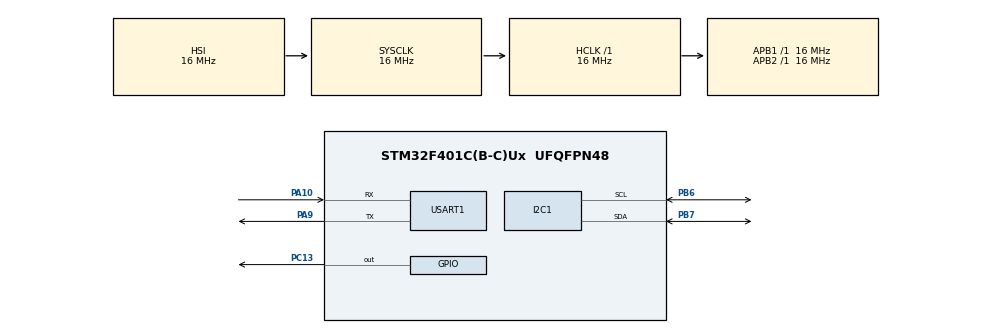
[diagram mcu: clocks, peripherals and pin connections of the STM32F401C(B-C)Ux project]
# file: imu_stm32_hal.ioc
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Mcu.Family=STM32F4
Mcu.Name=STM32F401C(B-C)Ux
Mcu.Package=UFQFPN48
NVIC.PriorityGroup=NVIC_PRIORITYGROUP_4
PA10.Mode=Asynchronous
PA10.Signal=USART1_RX
PA13.Mode=Serial_Wire
PA13.Signal=SYS_JTMS-SWDIO
PA14.Mode=Serial_Wire
PA14.Signal=SYS_JTCK-SWCLK
PA9.Mode=Asynchronous
PA9.Signal=USART1_TX
PB6.Mode=I2C
PB6.Signal=I2C1_SCL
PB7.Mode=I2C
PB7.Signal=I2C1_SDA
PC13-ANTI_TAMP.Signal=GPIO_Output
ProjectManager.HeapSize=0x200
ProjectManager.StackSize=0x400
ProjectManager.TargetToolchain=CMake
RCC.AHBFreq_Value=16000000
RCC.APB1Freq_Value=16000000
RCC.APB2Freq_Value=16000000
RCC.CortexFreq_Value=16000000
RCC.HSE_VALUE=25000000
RCC.HSI_VALUE=16000000
RCC.LSE_VALUE=32768
RCC.SYSCLKFreq_VALUE=16000000
RCC.VCOOutputFreq_Value=192000000
USART1.VirtualMode=VM_ASYNC
board=custom

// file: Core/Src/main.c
/* USER CODE BEGIN Header */
/**
  ******************************************************************************
  * @file           : main.c
  * @brief          : Main program body
  ******************************************************************************
  * @attention
  *
  * Copyright (c) 2026 STMicroelectronics.
  * All rights reserved.
  *
  * This software is licensed under terms that can be found in the LICENSE file
  * in the root directory of this software component.
  * If no LICENSE file comes with this software, it is provided AS-IS.
  *
  ******************************************************************************
  */
/* USER CODE END Header */
#include "main.h"

/* USER CODE BEGIN Includes */
#include<stdio.h>
#include <math.h>
/* USER CODE END Includes */

I2C_HandleTypeDef hi2c1;

UART_HandleTypeDef huart1;

void SystemClock_Config(void);
static void MX_GPIO_Init(void);
static void MX_I2C1_Init(void);
static void MX_USART1_UART_Init(void);

int main(void)
{

  /* MCU Configuration--------------------------------------------------------*/

  /* Reset of all peripherals, Initializes the Flash interface and the Systick. */
  HAL_Init();

  /* Configure the system clock */
  SystemClock_Config();

  /* Initialize all configured peripherals */
  MX_GPIO_Init();
  MX_I2C1_Init();
  MX_USART1_UART_Init();
  /* USER CODE BEGIN 2 */
  uint8_t id=0;
  HAL_StatusTypeDef status;
  status = HAL_I2C_Mem_Read(&hi2c1,0x6A<<1,0x0F,I2C_MEMADD_SIZE_8BIT,&id,1,100);
  uint8_t accel_config=0x40;
  HAL_StatusTypeDef accel_write_status;
  accel_write_status = HAL_I2C_Mem_Write(&hi2c1,0x6A<<1,0x10,I2C_MEMADD_SIZE_8BIT,&accel_config,1,100);
  uint8_t gyro_config=0x40;
HAL_StatusTypeDef gyro_write_status;
gyro_write_status = HAL_I2C_Mem_Write(&hi2c1,0x6A<<1,0x11,I2C_MEMADD_SIZE_8BIT,&gyro_config,1,100);

uint8_t msg[] = "STM32 UART OK\r\n";
HAL_UART_Transmit(&huart1, msg, sizeof(msg) - 1, 100);// Send a test message over UART to verify it is working
  /* USER CODE END 2 */

  /* Infinite loop */
  /* USER CODE BEGIN WHILE */
   uint8_t accel_data[6]={0};
  int16_t ax_raw=0;
  float ax=0.0f;
  int16_t ay_raw=0;
  float ay=0.0f;
  int16_t az_raw=0;
  float az=0.0f;
  HAL_StatusTypeDef accel_status;

  uint8_t gyro_data[6]={0};
  int16_t gx_raw=0;
  float gx=0.0f;
  int16_t gy_raw=0;
  float gy=0.0f;
  int16_t gz_raw=0;
  float gz=0.0f;
  HAL_StatusTypeDef gyro_status;

  float roll_acc = 0.0f;
float pitch_acc = 0.0f;

float roll_gyro = 0.0f;
float pitch_gyro = 0.0f;

float roll_fused = 0.0f;
float pitch_fused = 0.0f;
//设置零点，设备可能一开始工作地方就有角度
float roll_sum = 0.0f;
float pitch_sum = 0.0f;       // 累加采集到的角度

float roll_zero = 0.0f;
float pitch_zero = 0.0f;      // 最后算出的零点

uint16_t calibration_count = 0; // 已经收集了多少次
int calibration_done = 0;      // 0：未完成，1：已完成

uint32_t calibration_start = HAL_GetTick();
uint32_t previous_time = HAL_GetTick();
  while (1)
{
    /* USER CODE END WHILE */

    /* USER CODE BEGIN 3 */
    static uint32_t last_send = 0;
    static uint32_t tilt_start = 0;
    static int tilt_timing = 0;
    static int alarm = 0;

    accel_status = HAL_I2C_Mem_Read(
        &hi2c1, 0x6A << 1, 0x28,
        I2C_MEMADD_SIZE_8BIT, accel_data, 6, 100);

    gyro_status = HAL_I2C_Mem_Read(
        &hi2c1, 0x6A << 1, 0x22,
        I2C_MEMADD_SIZE_8BIT, gyro_data, 6, 100);

    uint32_t current_time = HAL_GetTick();
    float dt = (current_time - previous_time) / 1000.0f;
    previous_time = current_time;

    // 读取失败：中断本次超限计时，不用旧数据继续判断
    if (accel_status != HAL_OK || gyro_status != HAL_OK)
    {
        tilt_timing = 0;
        alarm = 0;
        HAL_GPIO_WritePin(GPIOC, GPIO_PIN_13, GPIO_PIN_SET);
        HAL_Delay(10);
        continue;
    }

    // 加速度，单位 g
    ax_raw = (int16_t)((accel_data[1] << 8) | accel_data[0]);
    ay_raw = (int16_t)((accel_data[3] << 8) | accel_data[2]);
    az_raw = (int16_t)((accel_data[5] << 8) | accel_data[4]);

    ax = ax_raw * 0.000061f;
    ay = ay_raw * 0.000061f;
    az = az_raw * 0.000061f;

    roll_acc = atan2f(ay, az) * 180.0f / 3.1415926f;
    pitch_acc = atan2f(-ax, sqrtf(ay * ay + az * az))
                * 180.0f / 3.1415926f;

    // 角速度，单位 °/s
    gx_raw = (int16_t)((gyro_data[1] << 8) | gyro_data[0]);
    gy_raw = (int16_t)((gyro_data[3] << 8) | gyro_data[2]);
    gz_raw = (int16_t)((gyro_data[5] << 8) | gyro_data[4]);

    gx = gx_raw * 0.00875f;
    gy = gy_raw * 0.00875f;
    gz = gz_raw * 0.00875f;

    roll_gyro += gx * dt;
    pitch_gyro += gy * dt;

    roll_fused = 0.98f * (roll_fused + gx * dt)
                 + 0.02f * roll_acc;
    pitch_fused = 0.98f * (pitch_fused + gy * dt)
                  + 0.02f * pitch_acc;

if (!calibration_done)
{
    // 前 3 秒继续更新滤波，但不收集零点数据
    if (current_time - calibration_start >= 3000)
    {
        roll_sum += roll_fused;
        pitch_sum += pitch_fused;
        calibration_count++;

        if (calibration_count >= 100)
        {
            roll_zero = roll_sum / calibration_count;
            pitch_zero = pitch_sum / calibration_count;

            calibration_done = 1;
        }
    }

    // 标定期间不进入后面的报警和数据发送
    HAL_Delay(10);
    continue;
}
float roll_corrected = roll_fused - roll_zero;
float pitch_corrected = pitch_fused - pitch_zero;

    // 连续超限 2 秒才报警
    int tilt_over = (roll_corrected > 20.0f ||
                     roll_corrected < -20.0f ||
                     pitch_corrected > 20.0f ||
                     pitch_corrected < -20.0f);

    if (tilt_over)
    {
        if (!tilt_timing)
        {
            tilt_start = current_time;
            tilt_timing = 1;
        }

        if (current_time - tilt_start >= 2000)
        {
            alarm = 1;
        }
    }
    else
    {
        tilt_timing = 0;
        alarm = 0;
    }

    // 每 100ms 发送：时间、Roll、Pitch、报警状态
    if (current_time - last_send >= 100)
    {
        last_send = current_time;

        char msg[64];
        int len = snprintf(msg, sizeof(msg),
                           "%lu,%d,%d,%d\r\n",
                           (unsigned long)current_time,
                           (int)roll_corrected,
                           (int)pitch_corrected,
                           alarm);

        if (len > 0 && len < (int)sizeof(msg))
        {
            HAL_UART_Transmit(
                &huart1, (uint8_t *)msg, (uint16_t)len, 100);
        }
    }

    HAL_Delay(10);
}
/* USER CODE END 3 */
}
void SystemClock_Config(void)
{
  RCC_OscInitTypeDef RCC_OscInitStruct = {0};
  RCC_ClkInitTypeDef RCC_ClkInitStruct = {0};

  /** Configure the main internal regulator output voltage
  */
  __HAL_RCC_PWR_CLK_ENABLE();
  __HAL_PWR_VOLTAGESCALING_CONFIG(PWR_REGULATOR_VOLTAGE_SCALE2);

  /** Initializes the RCC Oscillators according to the specified parameters
  * in the RCC_OscInitTypeDef structure.
  */
  RCC_OscInitStruct.OscillatorType = RCC_OSCILLATORTYPE_HSI;
  RCC_OscInitStruct.HSIState = RCC_HSI_ON;
  RCC_OscInitStruct.HSICalibrationValue = RCC_HSICALIBRATION_DEFAULT;
  RCC_OscInitStruct.PLL.PLLState = RCC_PLL_NONE;
  if (HAL_RCC_OscConfig(&RCC_OscInitStruct) != HAL_OK)
  {
    Error_Handler();
  }

  /** Initializes the CPU, AHB and APB buses clocks
  */
  RCC_ClkInitStruct.ClockType = RCC_CLOCKTYPE_HCLK|RCC_CLOCKTYPE_SYSCLK
                              |RCC_CLOCKTYPE_PCLK1|RCC_CLOCKTYPE_PCLK2;
  RCC_ClkInitStruct.SYSCLKSource = RCC_SYSCLKSOURCE_HSI;
  RCC_ClkInitStruct.AHBCLKDivider = RCC_SYSCLK_DIV1;
  RCC_ClkInitStruct.APB1CLKDivider = RCC_HCLK_DIV1;
  RCC_ClkInitStruct.APB2CLKDivider = RCC_HCLK_DIV1;

  if (HAL_RCC_ClockConfig(&RCC_ClkInitStruct, FLASH_LATENCY_0) != HAL_OK)
  {
    Error_Handler();
  }
}

static void MX_I2C1_Init(void)
{

  hi2c1.Instance = I2C1;
  hi2c1.Init.ClockSpeed = 100000;
  hi2c1.Init.DutyCycle = I2C_DUTYCYCLE_2;
  hi2c1.Init.OwnAddress1 = 0;
  hi2c1.Init.AddressingMode = I2C_ADDRESSINGMODE_7BIT;
  hi2c1.Init.DualAddressMode = I2C_DUALADDRESS_DISABLE;
  hi2c1.Init.OwnAddress2 = 0;
  hi2c1.Init.GeneralCallMode = I2C_GENERALCALL_DISABLE;
  hi2c1.Init.NoStretchMode = I2C_NOSTRETCH_DISABLE;
  if (HAL_I2C_Init(&hi2c1) != HAL_OK)
  {
    Error_Handler();
  }

}

static void MX_USART1_UART_Init(void)
{

  huart1.Instance = USART1;
  huart1.Init.BaudRate = 115200;
  huart1.Init.WordLength = UART_WORDLENGTH_8B;
  huart1.Init.StopBits = UART_STOPBITS_1;
  huart1.Init.Parity = UART_PARITY_NONE;
  huart1.Init.Mode = UART_MODE_TX_RX;
  huart1.Init.HwFlowCtl = UART_HWCONTROL_NONE;
  huart1.Init.OverSampling = UART_OVERSAMPLING_16;
  if (HAL_UART_Init(&huart1) != HAL_OK)
  {
    Error_Handler();
  }

}

static void MX_GPIO_Init(void)
{
  GPIO_InitTypeDef GPIO_InitStruct = {0};

  /* GPIO Ports Clock Enable */
  __HAL_RCC_GPIOC_CLK_ENABLE();
  __HAL_RCC_GPIOA_CLK_ENABLE();
  __HAL_RCC_GPIOB_CLK_ENABLE();

  /*Configure GPIO pin Output Level */
  HAL_GPIO_WritePin(GPIOC, GPIO_PIN_13, GPIO_PIN_RESET);

  /*Configure GPIO pin : PC13 */
  GPIO_InitStruct.Pin = GPIO_PIN_13;
  GPIO_InitStruct.Mode = GPIO_MODE_OUTPUT_PP;
  GPIO_InitStruct.Pull = GPIO_NOPULL;
  GPIO_InitStruct.Speed = GPIO_SPEED_FREQ_LOW;
  HAL_GPIO_Init(GPIOC, &GPIO_InitStruct);

}

void Error_Handler(void)
{
  __disable_irq();
  while (1)
  {
  }
}
